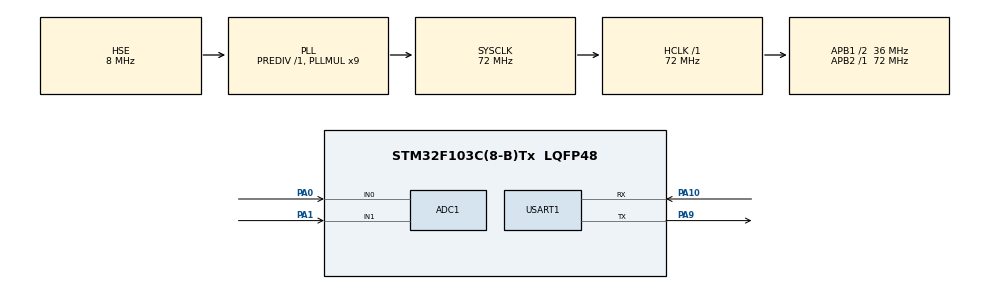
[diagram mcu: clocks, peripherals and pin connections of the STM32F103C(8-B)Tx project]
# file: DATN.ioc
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ADC1.Channel-0\#ChannelRegularConversion=ADC_CHANNEL_0
ADC1.Channel-1\#ChannelRegularConversion=ADC_CHANNEL_1
ADC1.ExternalTrigConv=ADC_EXTERNALTRIGCONV_T3_TRGO
ADC1.NbrOfConversion=2
ADC1.NbrOfConversionFlag=1
ADC1.Rank-0\#ChannelRegularConversion=1
ADC1.Rank-1\#ChannelRegularConversion=2
ADC1.SamplingTime-0\#ChannelRegularConversion=ADC_SAMPLETIME_239CYCLES_5
ADC1.SamplingTime-1\#ChannelRegularConversion=ADC_SAMPLETIME_239CYCLES_5
ADC1.master=1
Dma.ADC1.0.Direction=DMA_PERIPH_TO_MEMORY
Dma.ADC1.0.Instance=DMA1_Channel1
Dma.ADC1.0.MemDataAlignment=DMA_MDATAALIGN_HALFWORD
Dma.ADC1.0.MemInc=DMA_MINC_ENABLE
Dma.ADC1.0.Mode=DMA_CIRCULAR
Dma.ADC1.0.PeriphDataAlignment=DMA_PDATAALIGN_HALFWORD
Dma.ADC1.0.PeriphInc=DMA_PINC_DISABLE
Dma.ADC1.0.Priority=DMA_PRIORITY_LOW
Dma.Request0=ADC1
Mcu.Family=STM32F1
Mcu.Name=STM32F103C(8-B)Tx
Mcu.Package=LQFP48
NVIC.DMA1_Channel1_IRQn=true\:0\:0\:false\:false\:true\:false\:true\:true
NVIC.PriorityGroup=NVIC_PRIORITYGROUP_4
PA0-WKUP.Signal=ADCx_IN0
PA1.Signal=ADCx_IN1
PA10.Mode=Asynchronous
PA10.Signal=USART1_RX
PA13.Mode=Serial_Wire
PA13.Signal=SYS_JTMS-SWDIO
PA14.Mode=Serial_Wire
PA14.Signal=SYS_JTCK-SWCLK
PA9.Mode=Asynchronous
PA9.Signal=USART1_TX
PD0-OSC_IN.Mode=HSE-External-Oscillator
PD0-OSC_IN.Signal=RCC_OSC_IN
PD1-OSC_OUT.Mode=HSE-External-Oscillator
PD1-OSC_OUT.Signal=RCC_OSC_OUT
ProjectManager.HeapSize=0x200
ProjectManager.StackSize=0x400
ProjectManager.TargetToolchain=CMake
RCC.ADCPresc=RCC_ADCPCLK2_DIV6
RCC.AHBFreq_Value=72000000
RCC.APB1CLKDivider=RCC_HCLK_DIV2
RCC.APB1Freq_Value=36000000
RCC.APB1TimFreq_Value=72000000
RCC.APB2Freq_Value=72000000
RCC.APB2TimFreq_Value=72000000
RCC.HCLKFreq_Value=72000000
RCC.PLLMUL=RCC_PLL_MUL9
RCC.PLLSourceVirtual=RCC_PLLSOURCE_HSE
RCC.SYSCLKFreq_VALUE=72000000
RCC.SYSCLKSource=RCC_SYSCLKSOURCE_PLLCLK
RCC.USBFreq_Value=72000000
SH.ADCx_IN0.0=ADC1_IN0,IN0
SH.ADCx_IN1.0=ADC1_IN1,IN1
TIM3.Period=999
TIM3.Prescaler=71
TIM3.TIM_MasterOutputTrigger=TIM_TRGO_UPDATE
USART1.VirtualMode=VM_ASYNC
VP_TIM3_VS_ClockSourceINT.Mode=Internal
board=custom

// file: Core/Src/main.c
/* USER CODE BEGIN Header */
/**
  ******************************************************************************
  * @file           : main.c
  * @brief          : Main program body
  ******************************************************************************
  * @attention
  *
  * Copyright (c) 2026 STMicroelectronics.
  * All rights reserved.
  *
  * This software is licensed under terms that can be found in the LICENSE file
  * in the root directory of this software component.
  * If no LICENSE file comes with this software, it is provided AS-IS.
  *
  ******************************************************************************
  */
/* USER CODE END Header */
#include "main.h"
#include "adc.h"
#include "dma.h"
#include "tim.h"
#include "usart.h"
#include "gpio.h"

/* USER CODE BEGIN Includes */
#include "stdio.h"
#include "string.h"
#include <stdint.h>
#include "features.h"
/* USER CODE END Includes */

/* USER CODE BEGIN PV */
#define ADC_BUF_LEN 400 // DO DAI CUA MANG ADC
uint16_t emg_buffer[ADC_BUF_LEN]; // MANG CHUA TONG HOP DATA TU DMA

uint16_t emg_filtered_1[200]; // LUU GIA TRI SAU KHI LOC PA0
uint16_t emg_filtered_2[200]; // LUU GIA TRI SAU KHI LOC PA1

volatile uint8_t flag_half_ready = 0; // KHI CO 100 PHAN TU DAU TIEN MOI KENH
volatile uint8_t flag_full_ready = 0; // KHI CO 100 PHAN TU CUOI CUNG MOI KENH

#define WINDOW_SIZE 16 // KICH THUOC CUA SO THANH 16 (LUY THUA BANG 2) THAY VI 10
char msg_buffer[200]; // BUFFER CHUA CHUOI GUI UART (increased for JSON)

// Sliding window buffers for feature extraction
#define WINDOW_LEN 200
#define WINDOW_OVERLAP 100
uint16_t window_ch1[WINDOW_LEN];  // Sliding window for channel 1
uint16_t window_ch2[WINDOW_LEN];  // Sliding window for channel 2
volatile int window_index = 0;    // Current position in window
volatile int samples_in_window = 0;  // Number of samples in window
volatile uint8_t window_ready_flag = 0;  // Flag when window is full (200 samples)

// Features storage
EMGFeatures_t emg_features;  // Struct to store calculated features
/* USER CODE END PV */

void SystemClock_Config(void);
/* USER CODE BEGIN PFP */
void EMG_Filter_Channel(uint16_t *input_dma, uint16_t *output_filtered, int channel_offset, int start_idx, int length);
void UART_Send_EMG(uint16_t *data1, uint16_t *data2, int start_idx, int length);
/* USER CODE END PFP */

/* USER CODE BEGIN 0 */
void EMG_Filter_Channel(uint16_t *input_dma, uint16_t *output_filtered, int channel_offset, int start_idx, int length)
{
  for (int i = start_idx; i < start_idx + length; i++)
  {
    uint32_t sum = 0;
    for (int j = 0; j < WINDOW_SIZE; j++)
    {
      // Tính chỉ số lịch sử vòng tròn.
      // 'i' bị trừ lùi đi để quét lịch sử, cộng 200 tránh số âm trước khi chia % 200
      int history_idx = (i - j + 200) % 200;

      // Trích xuất giá trị trực tiếp từ luồng gộp của DMA (chẵn/lẻ)
      sum += input_dma[2 * history_idx + channel_offset];
    }
    // Dịch logic qua phải 4 byte tương đương thao tác chia `(sum / 16)`
    output_filtered[i] = sum >> 4;
  }
}

void UART_Send_EMG(uint16_t *data1, uint16_t *data2, int start_idx, int length)
{
  for (int i = start_idx; i < start_idx + length; i+=5)
  {
    sprintf(msg_buffer, "%u,%u\n", data1[i], data2[i]);
    HAL_UART_Transmit(&huart1, (uint8_t*)msg_buffer, strlen(msg_buffer), 5);
  }
}
/* USER CODE END 0 */

int main(void)
{

  /* MCU Configuration--------------------------------------------------------*/

  /* Reset of all peripherals, Initializes the Flash interface and the Systick. */
  HAL_Init();

  /* Configure the system clock */
  SystemClock_Config();

  /* Initialize all configured peripherals */
  MX_GPIO_Init();
  MX_DMA_Init();
  MX_ADC1_Init();
  MX_TIM3_Init();
  MX_USART1_UART_Init();
  /* USER CODE BEGIN 2 */
  HAL_TIM_Base_Start(&htim3);
  HAL_ADC_Start_DMA(&hadc1, (uint32_t*)emg_buffer, ADC_BUF_LEN);

  /* USER CODE END 2 */

  /* Infinite loop */
  while (1)
  {

    /* USER CODE BEGIN 3 */
    // Check if sliding window is ready (200 samples collected)
    if (window_ready_flag == 1)
    {
      // Calculate features for channel 1 (PA0)
      emg_features.ch1.rms = calculate_RMS(window_ch1, WINDOW_LEN);
      emg_features.ch1.mav = calculate_MAV(window_ch1, WINDOW_LEN);
      emg_features.ch1.mf = calculate_MF(window_ch1, WINDOW_LEN, 1000);  // 1kHz sampling

      // Calculate features for channel 2 (PA1)
      emg_features.ch2.rms = calculate_RMS(window_ch2, WINDOW_LEN);
      emg_features.ch2.mav = calculate_MAV(window_ch2, WINDOW_LEN);
      emg_features.ch2.mf = calculate_MF(window_ch2, WINDOW_LEN, 1000);  // 1kHz sampling

      // Format features to JSON string (values as integers × 100 to preserve 2 decimal places)
      // Example: rms=512.45 becomes "rms":51245 in JSON
      int json_len = format_features_json(&emg_features, msg_buffer);

      // Transmit over UART (newline already included in JSON)
      if (json_len > 0)
      {
        HAL_UART_Transmit(&huart1, (uint8_t*)msg_buffer, json_len, 100);
      }

      // Reset flag
      window_ready_flag = 0;
    }
  }
  /* USER CODE END 3 */
}

void SystemClock_Config(void)
{
  RCC_OscInitTypeDef RCC_OscInitStruct = {0};
  RCC_ClkInitTypeDef RCC_ClkInitStruct = {0};
  RCC_PeriphCLKInitTypeDef PeriphClkInit = {0};

  /** Initializes the RCC Oscillators according to the specified parameters
  * in the RCC_OscInitTypeDef structure.
  */
  RCC_OscInitStruct.OscillatorType = RCC_OSCILLATORTYPE_HSE;
  RCC_OscInitStruct.HSEState = RCC_HSE_ON;
  RCC_OscInitStruct.HSEPredivValue = RCC_HSE_PREDIV_DIV1;
  RCC_OscInitStruct.HSIState = RCC_HSI_ON;
  RCC_OscInitStruct.PLL.PLLState = RCC_PLL_ON;
  RCC_OscInitStruct.PLL.PLLSource = RCC_PLLSOURCE_HSE;
  RCC_OscInitStruct.PLL.PLLMUL = RCC_PLL_MUL9;
  if (HAL_RCC_OscConfig(&RCC_OscInitStruct) != HAL_OK)
  {
    Error_Handler();
  }

  /** Initializes the CPU, AHB and APB buses clocks
  */
  RCC_ClkInitStruct.ClockType = RCC_CLOCKTYPE_HCLK|RCC_CLOCKTYPE_SYSCLK
                              |RCC_CLOCKTYPE_PCLK1|RCC_CLOCKTYPE_PCLK2;
  RCC_ClkInitStruct.SYSCLKSource = RCC_SYSCLKSOURCE_PLLCLK;
  RCC_ClkInitStruct.AHBCLKDivider = RCC_SYSCLK_DIV1;
  RCC_ClkInitStruct.APB1CLKDivider = RCC_HCLK_DIV2;
  RCC_ClkInitStruct.APB2CLKDivider = RCC_HCLK_DIV1;

  if (HAL_RCC_ClockConfig(&RCC_ClkInitStruct, FLASH_LATENCY_2) != HAL_OK)
  {
    Error_Handler();
  }
  PeriphClkInit.PeriphClockSelection = RCC_PERIPHCLK_ADC;
  PeriphClkInit.AdcClockSelection = RCC_ADCPCLK2_DIV6;
  if (HAL_RCCEx_PeriphCLKConfig(&PeriphClkInit) != HAL_OK)
  {
    Error_Handler();
  }
}

/* USER CODE BEGIN 4 */

/**
 * @brief Process ADC samples and update sliding windows
 * Extracts samples from DMA buffer and feeds into sliding windows
 * @param buffer: pointer to ADC DMA buffer (interleaved ch0, ch1, ch0, ch1, ...)
 * @param start_idx: starting index in buffer
 * @param num_pairs: number of interleaved pairs (e.g., 100 pairs = 200 elements)
 */
static void ADC_UpdateSlidingWindows(uint16_t *buffer, int start_idx, int num_pairs)
{
  for (int i = 0; i < num_pairs; i++)
  {
    // Extract channel 0 (even indices) and channel 1 (odd indices)
    uint16_t ch0_sample = buffer[start_idx + 2 * i];
    uint16_t ch1_sample = buffer[start_idx + 2 * i + 1];

    // Add to sliding windows
    window_ch1[window_index] = ch0_sample;
    window_ch2[window_index] = ch1_sample;

    window_index++;
    samples_in_window++;

    // Check if window is full (200 samples)
    if (samples_in_window >= 200)
    {
      window_ready_flag = 1;
      samples_in_window = 0;
      window_index = 0;
      // Shift buffer by copying last 100 to first 100 (overlap = 100)
      for (int j = 0; j < 100; j++)
      {
        window_ch1[j] = window_ch1[100 + j];
        window_ch2[j] = window_ch2[100 + j];
      }
      window_index = 100;
      samples_in_window = 100;
    }
  }
}

/**
 * @brief ADC conversion half-complete callback
 * Called when DMA reaches the middle of the buffer (100 pairs = 200 samples)
 */
void HAL_ADC_ConvHalfCpltCallback(ADC_HandleTypeDef *hadc)
{
  if (hadc->Instance == ADC1)
  {
    // Process first half of ADC buffer (samples 0-199, which is 100 pairs of channels)
    ADC_UpdateSlidingWindows(emg_buffer, 0, 100);
  }
}

/**
 * @brief ADC conversion complete callback
 * Called when DMA completes the buffer (100 pairs = 200 samples)
 */
void HAL_ADC_ConvCpltCallback(ADC_HandleTypeDef *hadc)
{
  if (hadc->Instance == ADC1)
  {
    // Process second half of ADC buffer (samples 200-399, which is 100 pairs of channels)
    ADC_UpdateSlidingWindows(emg_buffer, 200, 100);
  }
}

/* USER CODE END 4 */

void Error_Handler(void)
{
  __disable_irq();
  while (1)
  {
  }
}
